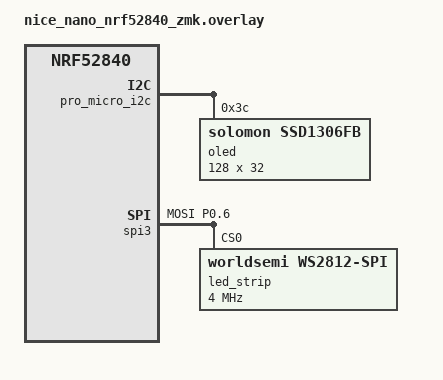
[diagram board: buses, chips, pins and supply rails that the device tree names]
/*
 * Copyright (c) 2025 The ZMK Contributors
 * SPDX-License-Identifier: MIT
 * 
 * Aurora Sofle with OLED + RGB for nice!nano v2
 * Based on upstream but adds OLED support
 */

#include <dt-bindings/led/led.h>

// Configure SPI pinctrl for RGB
&pinctrl {
    spi3_default: spi3_default {
        group1 {
            psels = <NRF_PSEL(SPIM_MOSI, 0, 6)>;
        };
    };

    spi3_sleep: spi3_sleep {
        group1 {
            psels = <NRF_PSEL(SPIM_MOSI, 0, 6)>;
            low-power-enable;
        };
    };
};

// Enable I2C for OLED
&pro_micro_i2c {
    status = "okay";

    oled: ssd1306@3c {
        compatible = "solomon,ssd1306fb";
        reg = <0x3c>;
        width = <128>;
        height = <32>;
        segment-offset = <0>;
        page-offset = <0>;
        display-offset = <0>;
        multiplex-ratio = <31>;
        segment-remap;
        com-invdir;
        com-sequential;
        inversion-on;
        prechargep = <0x22>;
    };
};

// Enable SPI for RGB LEDs
&spi3 {
    compatible = "nordic,nrf-spim";
    status = "okay";

    pinctrl-0 = <&spi3_default>;
    pinctrl-1 = <&spi3_sleep>;
    pinctrl-names = "default", "sleep";

    led_strip: ws2812@0 {
        compatible = "worldsemi,ws2812-spi";
        reg = <0>;
        spi-max-frequency = <4000000>;
        
        // Aurora Sofle has 29 per-key + 6 underglow = 35 total per side
        chain-length = <35>;
        
        spi-one-frame = <0x70>;
        spi-zero-frame = <0x40>;
        color-mapping = <LED_COLOR_ID_GREEN LED_COLOR_ID_RED LED_COLOR_ID_BLUE>;
    };
};

/ {
    chosen {
        zmk,underglow = &led_strip;
        zmk,display = &oled;
    };
};
